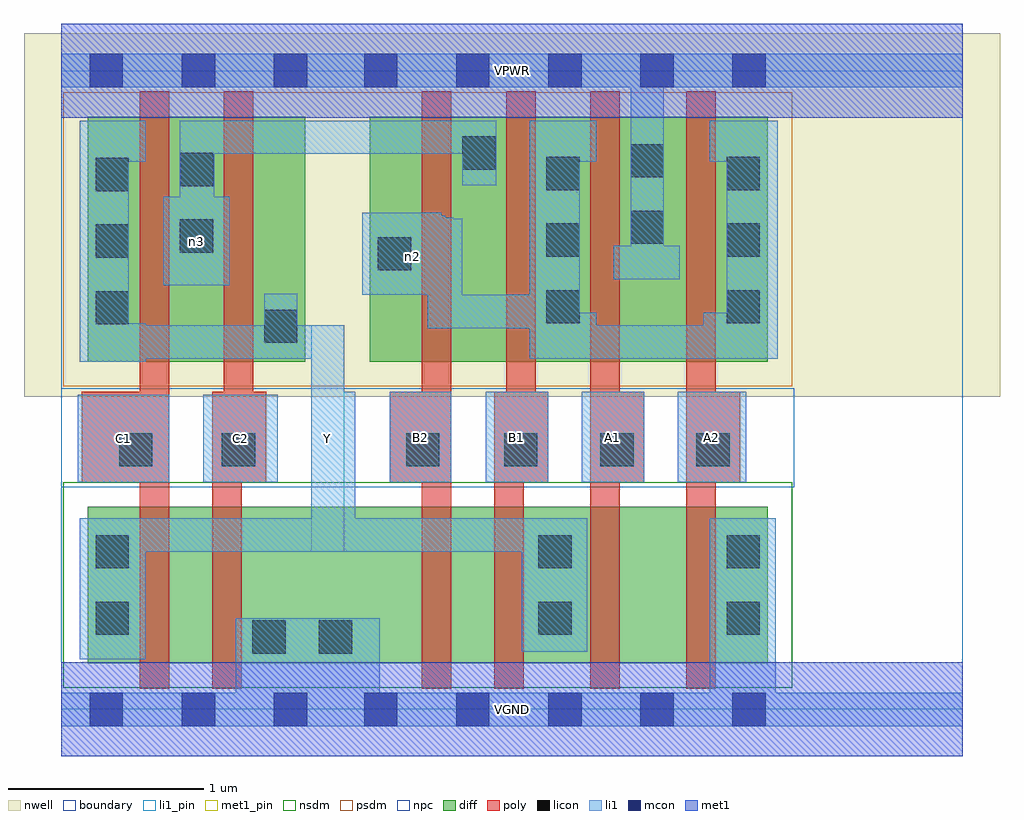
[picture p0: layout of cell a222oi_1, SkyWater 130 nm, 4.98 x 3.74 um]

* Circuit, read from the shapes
.subckt a222oi_1 A1 A2 B1 B2 C1 C2 VGND VPWR Y n2 n3
XM1 n1 C1 Y VSUBS sky130_fd_pr__nfet_01v8 w=0.8 l=0.15
XM2 VGND C2 n1 VSUBS sky130_fd_pr__nfet_01v8 w=0.8 l=0.15
XM3 n4 B2 VGND VSUBS sky130_fd_pr__nfet_01v8 w=0.8 l=0.15
XM4 Y B1 n4 VSUBS sky130_fd_pr__nfet_01v8 w=0.8 l=0.15
XM5 n5 A1 Y VSUBS sky130_fd_pr__nfet_01v8 w=0.8 l=0.15
XM6 VGND A2 n5 VSUBS sky130_fd_pr__nfet_01v8 w=0.8 l=0.15
XM7 n3 C1 Y n6 sky130_fd_pr__pfet_01v8 w=1.25 l=0.15
XM8 Y C2 n3 n6 sky130_fd_pr__pfet_01v8 w=1.25 l=0.15
XM9 n3 B2 n2 n6 sky130_fd_pr__pfet_01v8 w=1.25 l=0.15
XM10 n2 B1 n3 n6 sky130_fd_pr__pfet_01v8 w=1.25 l=0.15
XM11 VPWR A1 n2 n6 sky130_fd_pr__pfet_01v8 w=1.25 l=0.15
XM12 n2 A2 VPWR n6 sky130_fd_pr__pfet_01v8 w=1.25 l=0.15
.ends

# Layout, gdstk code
import gdstk
lib = gdstk.Library(unit=1e-6, precision=1e-09)
def R(c, l, rs):  # rectangles x0, y0, x1, y1
    for r in rs: c.add(gdstk.rectangle(r[:2], r[2:], *l))
def A(c, l, x, y, w, h, nx, ny, dx, dy):  # array of equal rectangles
    R(c, l, [(x+i*dx, y+j*dy, x+i*dx+w, y+j*dy+h) for i in range(nx) for j in range(ny)])
nwell = (64, 20)
diff = (65, 20)
poly = (66, 20)
licon = (66, 44)
li1_pin = (67, 16)
li1 = (67, 20)
mcon = (67, 44)
met1_pin = (68, 16)
met1 = (68, 20)
nsdm = (93, 44)
psdm = (94, 20)
npc = (95, 20)
boundary = (235, 4)

a222oi_1 = lib.new_cell('a222oi_1')
R(a222oi_1, nwell, [(-0.19,1.595,4.79,3.45), (0,1.595,4.6,3.45)])
R(a222oi_1, diff, [(0.135,0.235,3.605,1.035), (0.135,1.775,1.245,3.025), (1.575,1.775,3.605,3.025)])
A(a222oi_1, poly, 2.21, 1.16, 0.275, 0.46, 3, 1, 0.49, 0)
R(a222oi_1, poly, [(0.4,0.105,0.55,3.155), (0.77,0.105,0.92,1.62), (1.84,0.105,1.99,3.155), (2.21,0.105,2.36,1.62), (2.7,0.105,2.85,3.155), (3.19,0.105,3.34,3.155), (0.105,1.16,0.55,1.62), (0.77,1.16,1.045,1.62), (0.83,1.16,0.98,3.155), (1.675,1.16,1.99,1.62), (2.27,1.16,2.42,3.155)])
A(a222oi_1, licon, 2.26, 1.24, 0.17, 0.17, 3, 1, 0.49, 0)
A(a222oi_1, licon, 0.175, 1.965, 0.17, 0.17, 1, 3, 0, 0.34)
A(a222oi_1, licon, 2.475, 1.97, 0.17, 0.17, 1, 3, 0, 0.34)
A(a222oi_1, licon, 3.395, 1.97, 0.17, 0.17, 1, 3, 0, 0.34)
R(a222oi_1, licon, [(0.975,0.285,1.145,0.455), (1.315,0.285,1.485,0.455), (0.175,0.38,0.345,0.55), (2.435,0.38,2.605,0.55), (3.395,0.38,3.565,0.55), (0.175,0.72,0.345,0.89), (2.435,0.72,2.605,0.89), (3.395,0.72,3.565,0.89), (0.295,1.24,0.465,1.41), (0.82,1.24,0.99,1.41), (1.76,1.24,1.93,1.41), (1.035,1.87,1.205,2.04), (1.615,2.24,1.785,2.41), (0.605,2.33,0.775,2.5), (2.905,2.375,3.075,2.545), (0.605,2.67,0.775,2.84), (2.905,2.715,3.075,2.885), (2.045,2.755,2.215,2.925)])
R(a222oi_1, li1_pin, [(1.275,0.805,1.445,1.96), (0.085,1.16,0.55,1.605), (0.725,1.16,1.105,1.605), (1.675,1.16,1.99,1.62), (2.165,1.16,2.485,1.62), (2.655,1.16,2.975,1.62), (3.145,1.16,3.495,1.62)])
R(a222oi_1, li1, [(0,-0.085,4.6,0.085), (0.89,-0.085,1.625,0.465), (3.31,-0.085,3.645,0.975), (0.095,0.255,0.43,0.975), (2.35,0.295,2.685,0.975), (0.095,0.805,2.685,0.975), (1.275,0.805,1.445,1.96), (1.275,0.975,1.5,1.62), (0.085,1.16,0.55,1.605), (0.725,1.16,1.105,1.605), (1.675,1.16,1.99,1.62), (2.165,1.16,2.485,1.62), (2.655,1.16,2.975,1.62), (3.145,1.16,3.495,1.62), (0.095,1.775,0.345,3.005), (0.095,1.775,0.43,1.97), (0.095,1.79,1.445,1.96), (1.035,1.79,1.205,2.12), (2.39,1.79,2.645,3.005), (2.39,1.79,3.655,1.96), (2.39,1.79,2.73,2.025), (3.275,1.79,3.655,2.025), (3.395,1.79,3.655,3.005), (1.87,1.945,2.645,2.115), (1.535,2.115,2.045,2.505), (1.535,2.115,1.94,2.535), (1.535,2.115,1.96,2.52), (1.535,2.115,2,2.51), (0.52,2.165,0.86,2.615), (0.605,2.165,0.78,3.005), (2.82,2.195,3.155,2.365), (2.905,2.195,3.075,3.345), (2.045,2.675,2.22,3.005), (0.095,2.795,0.43,3.005), (2.39,2.795,2.73,3.005), (3.31,2.795,3.655,3.005), (0.605,2.835,2.22,3.005), (0,3.175,4.6,3.345)])
A(a222oi_1, mcon, 0.145, -0.085, 0.17, 0.17, 3, 2, 0.47, 3.26)
A(a222oi_1, mcon, 1.545, -0.085, 0.17, 0.17, 5, 2, 0.47, 3.26)
R(a222oi_1, met1_pin, [(0,-0.24,4.6,0.24), (0,3.02,4.6,3.5)])
R(a222oi_1, met1, [(0,-0.24,4.6,0.24), (0,3.02,4.6,3.5)])
R(a222oi_1, nsdm, [(0.01,0.11,3.73,1.16)])
R(a222oi_1, psdm, [(0.01,1.65,3.73,3.15)])
R(a222oi_1, npc, [(0,1.135,3.74,1.64)])
R(a222oi_1, boundary, [(0,0,4.6,3.26)])
a222oi_1.add(gdstk.Label('A1', (2.815,1.39), layer=67, texttype=5))
a222oi_1.add(gdstk.Label('A2', (3.32,1.39), layer=67, texttype=5))
a222oi_1.add(gdstk.Label('B1', (2.325,1.39), layer=67, texttype=5))
a222oi_1.add(gdstk.Label('B2', (1.832,1.39), layer=67, texttype=5))
a222oi_1.add(gdstk.Label('C1', (0.317,1.382), layer=67, texttype=5))
a222oi_1.add(gdstk.Label('C2', (0.915,1.382), layer=67, texttype=5))
a222oi_1.add(gdstk.Label('Y', (1.36,1.382), layer=67, texttype=5))
a222oi_1.add(gdstk.Label('n3', (0.69,2.39), layer=67, texttype=5))
a222oi_1.add(gdstk.Label('n2', (1.79,2.31), layer=67, texttype=5))
a222oi_1.add(gdstk.Label('VPWR', (2.3,3.26), layer=68, texttype=5))
a222oi_1.add(gdstk.Label('VGND', (2.3,0), layer=68, texttype=5))
a222oi_1.add(gdstk.Label('A1', (2.815,1.39), layer=67, texttype=16))
a222oi_1.add(gdstk.Label('A2', (3.32,1.39), layer=67, texttype=16))
a222oi_1.add(gdstk.Label('B1', (2.325,1.39), layer=67, texttype=16))
a222oi_1.add(gdstk.Label('B2', (1.832,1.39), layer=67, texttype=16))
a222oi_1.add(gdstk.Label('C1', (0.317,1.382), layer=67, texttype=16))
a222oi_1.add(gdstk.Label('C2', (0.915,1.382), layer=67, texttype=16))
a222oi_1.add(gdstk.Label('Y', (1.36,1.382), layer=67, texttype=16))
a222oi_1.add(gdstk.Label('VPWR', (2.3,3.26), layer=68, texttype=16))
a222oi_1.add(gdstk.Label('VGND', (2.3,0), layer=68, texttype=16))

lib.write_gds('a222oi_1.gds')
